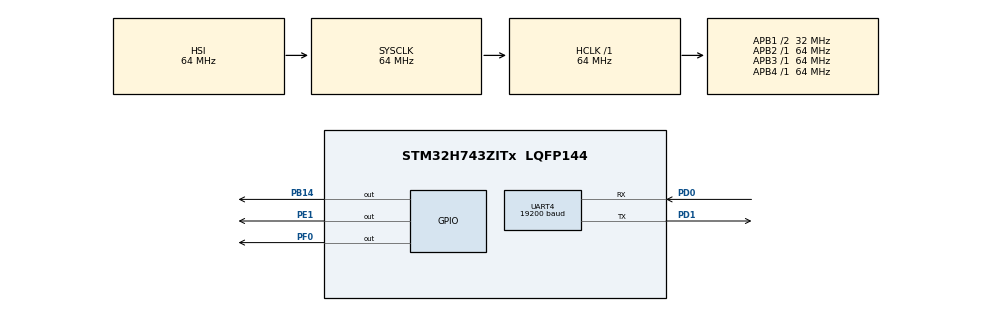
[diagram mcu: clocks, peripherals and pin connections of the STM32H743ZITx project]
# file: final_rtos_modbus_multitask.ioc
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CORTEX_M7.default_mode_Activation=1
FREERTOS.Tasks01=mainTask,40,128,StartmainTask,Default,NULL,Dynamic,NULL,NULL;SendTask,24,128,StartSendTask,Default,NULL,Dynamic,NULL,NULL;ReceiveTask,32,128,StartReceiveTask,Default,NULL,Dynamic,NULL,NULL
Mcu.Family=STM32H7
Mcu.Name=STM32H743ZITx
Mcu.Package=LQFP144
NVIC.PriorityGroup=NVIC_PRIORITYGROUP_4
NVIC.TIM1_UP_IRQn=true\:15\:0\:false\:false\:true\:false\:false\:true\:true
NVIC.TimeBase=TIM1_UP_IRQn
NVIC.TimeBaseIP=TIM1
NVIC.UART4_IRQn=true\:5\:0\:false\:false\:true\:true\:true\:true\:true
PB14.Signal=GPIO_Output
PD0.Mode=Asynchronous
PD0.Signal=UART4_RX
PD1.Mode=Asynchronous
PD1.Signal=UART4_TX
PE1.Signal=GPIO_Output
PF0.Signal=GPIO_Output
ProjectManager.HeapSize=0x200
ProjectManager.StackSize=0x400
ProjectManager.TargetToolchain=STM32CubeIDE
RCC.ADCFreq_Value=129000000
RCC.APB1Freq_Value=32000000
RCC.APB2Freq_Value=64000000
RCC.APB3Freq_Value=64000000
RCC.APB4Freq_Value=64000000
RCC.CortexFreq_Value=64000000
RCC.D2PPRE1=RCC_APB1_DIV2
RCC.HCLKFreq_Value=64000000
RCC.SYSCLKFreq_VALUE=64000000
RCC.USBFreq_Value=129000000
UART4.BaudRate=19200
VP_FREERTOS_VS_CMSIS_V2.Mode=CMSIS_V2
VP_MEMORYMAP_VS_MEMORYMAP.Mode=CurAppReg
VP_SYS_VS_tim1.Mode=TIM1
board=custom

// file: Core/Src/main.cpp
/* USER CODE BEGIN Header */
/**
  ******************************************************************************
  * @file           : main.c
  * @brief          : Main program body
  ******************************************************************************
  * @attention
  *
  * Copyright (c) 2024 STMicroelectronics.
  * All rights reserved.
  *
  * This software is licensed under terms that can be found in the LICENSE file
  * in the root directory of this software component.
  * If no LICENSE file comes with this software, it is provided AS-IS.
  *
  ******************************************************************************
  */
/* USER CODE END Header */
#include <stdio.h>
//#include <queue>
#include "main.h"
#include "cmsis_os2.h"
#include "modbus_crc.h"

uint8_t RxData[64];
uint8_t TxData[64];

uint8_t RxData_on_array[64];
uint8_t RxData_off_array[64];
uint8_t RxData_on_array_AT[64];
uint8_t RxData_off_array_AT[64];

//uint8_t function_code;

uint8_t new_data = 0;
int bytes;

osMessageQueueId_t user_MsgQueue;
osStatus_t status1;

osMessageQueueId_t rxtx_MsgQueue;
osStatus_t status2;

osMessageQueueId_t taskComm_MsgQueue;
osStatus_t status3;

uint8_t AT_active[32];
uint8_t ATMode = 0;
uint8_t BTconnectMode;
//uint8_t function_code;
UART_HandleTypeDef huart4;

/* Definitions for mainTask */
osThreadId_t mainTaskHandle;
const osThreadAttr_t mainTask_attributes = {
  .name = "mainTask",
  .stack_size = 128 * 4,
  .priority = (osPriority_t) osPriorityHigh,
};
/* Definitions for SendTask */
osThreadId_t SendTaskHandle;
const osThreadAttr_t SendTask_attributes = {
  .name = "SendTask",
  .stack_size = 128 * 4,
  .priority = (osPriority_t) osPriorityNormal,
};
/* Definitions for ReceiveTask */
osThreadId_t ReceiveTaskHandle;
const osThreadAttr_t ReceiveTask_attributes = {
  .name = "ReceiveTask",
  .stack_size = 128 * 4,
  .priority = (osPriority_t) osPriorityAboveNormal,
};
/* USER CODE BEGIN PV */
void HAL_UARTEx_RxEventCallback(UART_HandleTypeDef *huart, uint16_t Size)
{
	//clearArray(RxData, 32);
	new_data = 1;
	status1 = osMessageQueuePut(user_MsgQueue, &new_data,0,0);
	//kolejka danych
		HAL_UARTEx_ReceiveToIdle_IT(&huart4, RxData, 64);

}
/* USER CODE END PV */

void SystemClock_Config(void);
static void MPU_Config(void);
static void MX_GPIO_Init(void);
static void MX_UART4_Init(void);
void StartmainTask(void *argument);
void StartSendTask(void *argument);
void StartReceiveTask(void *argument);

int main(void)
{

  /* MPU Configuration--------------------------------------------------------*/
  MPU_Config();

  /* MCU Configuration--------------------------------------------------------*/

  /* Reset of all peripherals, Initializes the Flash interface and the Systick. */
  HAL_Init();

  /* Configure the system clock */
  SystemClock_Config();

  /* Initialize all configured peripherals */
  MX_GPIO_Init();
  MX_UART4_Init();
  /* USER CODE BEGIN 2 */
  modbus_on_compare_array();
  modbus_off_compare_array();
  modbus_on_compare_array_AT();
  modbus_off_compare_array_AT();

  //ATMode_on();
  //ATMode_on();
  user_MsgQueue = osMessageQueueNew(2,sizeof(uint8_t),NULL);
  rxtx_MsgQueue = osMessageQueueNew(2,sizeof(uint8_t),NULL);
  taskComm_MsgQueue = osMessageQueueNew(2,sizeof(uint8_t),NULL);
  //user_MsgQueue = osMessageQueueNew(2, 16,NULL);
  //rxtx_MsgQueue = osMessageQueueNew(2, 16,NULL);

  //HAL_UARTEx_ReceiveToIdle_IT(&huart4, RxData, 32);
  HAL_UARTEx_ReceiveToIdle_IT(&huart4, RxData, 64);
  /* USER CODE END 2 */

  /* Init scheduler */
  osKernelInitialize();

  /* Create the thread(s) */
  /* creation of mainTask */
  mainTaskHandle = osThreadNew(StartmainTask, NULL, &mainTask_attributes);

  /* creation of SendTask */
  SendTaskHandle = osThreadNew(StartSendTask, NULL, &SendTask_attributes);

  /* creation of ReceiveTask */
  ReceiveTaskHandle = osThreadNew(StartReceiveTask, NULL, &ReceiveTask_attributes);

  /* Start scheduler */
  osKernelStart();

  /* We should never get here as control is now taken by the scheduler */

  /* Infinite loop */
  while (1)
  {

  }
}

void SystemClock_Config(void)
{
  RCC_OscInitTypeDef RCC_OscInitStruct = {0};
  RCC_ClkInitTypeDef RCC_ClkInitStruct = {0};

  /** Supply configuration update enable
  */
  HAL_PWREx_ConfigSupply(PWR_LDO_SUPPLY);

  /** Configure the main internal regulator output voltage
  */
  __HAL_PWR_VOLTAGESCALING_CONFIG(PWR_REGULATOR_VOLTAGE_SCALE3);

  while(!__HAL_PWR_GET_FLAG(PWR_FLAG_VOSRDY)) {}

  /** Initializes the RCC Oscillators according to the specified parameters
  * in the RCC_OscInitTypeDef structure.
  */
  RCC_OscInitStruct.OscillatorType = RCC_OSCILLATORTYPE_HSI;
  RCC_OscInitStruct.HSIState = RCC_HSI_DIV1;
  RCC_OscInitStruct.HSICalibrationValue = RCC_HSICALIBRATION_DEFAULT;
  RCC_OscInitStruct.PLL.PLLState = RCC_PLL_NONE;
  if (HAL_RCC_OscConfig(&RCC_OscInitStruct) != HAL_OK)
  {
    Error_Handler();
  }

  /** Initializes the CPU, AHB and APB buses clocks
  */
  RCC_ClkInitStruct.ClockType = RCC_CLOCKTYPE_HCLK|RCC_CLOCKTYPE_SYSCLK
                              |RCC_CLOCKTYPE_PCLK1|RCC_CLOCKTYPE_PCLK2
                              |RCC_CLOCKTYPE_D3PCLK1|RCC_CLOCKTYPE_D1PCLK1;
  RCC_ClkInitStruct.SYSCLKSource = RCC_SYSCLKSOURCE_HSI;
  RCC_ClkInitStruct.SYSCLKDivider = RCC_SYSCLK_DIV1;
  RCC_ClkInitStruct.AHBCLKDivider = RCC_HCLK_DIV1;
  RCC_ClkInitStruct.APB3CLKDivider = RCC_APB3_DIV1;
  RCC_ClkInitStruct.APB1CLKDivider = RCC_APB1_DIV2;
  RCC_ClkInitStruct.APB2CLKDivider = RCC_APB2_DIV1;
  RCC_ClkInitStruct.APB4CLKDivider = RCC_APB4_DIV1;

  if (HAL_RCC_ClockConfig(&RCC_ClkInitStruct, FLASH_LATENCY_1) != HAL_OK)
  {
    Error_Handler();
  }
}

static void MX_UART4_Init(void)
{

  huart4.Instance = UART4;
  huart4.Init.BaudRate = 19200;
  huart4.Init.WordLength = UART_WORDLENGTH_8B;
  huart4.Init.StopBits = UART_STOPBITS_1;
  huart4.Init.Parity = UART_PARITY_NONE;
  huart4.Init.Mode = UART_MODE_TX_RX;
  huart4.Init.HwFlowCtl = UART_HWCONTROL_NONE;
  huart4.Init.OverSampling = UART_OVERSAMPLING_16;
  huart4.Init.OneBitSampling = UART_ONE_BIT_SAMPLE_DISABLE;
  huart4.Init.ClockPrescaler = UART_PRESCALER_DIV1;
  huart4.AdvancedInit.AdvFeatureInit = UART_ADVFEATURE_NO_INIT;
  if (HAL_UART_Init(&huart4) != HAL_OK)
  {
    Error_Handler();
  }
  if (HAL_UARTEx_SetTxFifoThreshold(&huart4, UART_TXFIFO_THRESHOLD_1_8) != HAL_OK)
  {
    Error_Handler();
  }
  if (HAL_UARTEx_SetRxFifoThreshold(&huart4, UART_RXFIFO_THRESHOLD_1_8) != HAL_OK)
  {
    Error_Handler();
  }
  if (HAL_UARTEx_DisableFifoMode(&huart4) != HAL_OK)
  {
    Error_Handler();
  }

}

static void MX_GPIO_Init(void)
{
  GPIO_InitTypeDef GPIO_InitStruct = {0};

  /* GPIO Ports Clock Enable */
  __HAL_RCC_GPIOF_CLK_ENABLE();
  __HAL_RCC_GPIOB_CLK_ENABLE();
  __HAL_RCC_GPIOD_CLK_ENABLE();
  __HAL_RCC_GPIOE_CLK_ENABLE();

  /*Configure GPIO pin Output Level */
  HAL_GPIO_WritePin(GPIOF, GPIO_PIN_0, GPIO_PIN_RESET);

  /*Configure GPIO pin Output Level */
  HAL_GPIO_WritePin(GPIOB, GPIO_PIN_14, GPIO_PIN_RESET);

  /*Configure GPIO pin Output Level */
  HAL_GPIO_WritePin(GPIOE, GPIO_PIN_1, GPIO_PIN_RESET);

  /*Configure GPIO pin : PF0 */
  GPIO_InitStruct.Pin = GPIO_PIN_0;
  GPIO_InitStruct.Mode = GPIO_MODE_OUTPUT_PP;
  GPIO_InitStruct.Pull = GPIO_NOPULL;
  GPIO_InitStruct.Speed = GPIO_SPEED_FREQ_LOW;
  HAL_GPIO_Init(GPIOF, &GPIO_InitStruct);

  /*Configure GPIO pin : PB14 */
  GPIO_InitStruct.Pin = GPIO_PIN_14;
  GPIO_InitStruct.Mode = GPIO_MODE_OUTPUT_PP;
  GPIO_InitStruct.Pull = GPIO_NOPULL;
  GPIO_InitStruct.Speed = GPIO_SPEED_FREQ_LOW;
  HAL_GPIO_Init(GPIOB, &GPIO_InitStruct);

  /*Configure GPIO pin : PE1 */
  GPIO_InitStruct.Pin = GPIO_PIN_1;
  GPIO_InitStruct.Mode = GPIO_MODE_OUTPUT_PP;
  GPIO_InitStruct.Pull = GPIO_NOPULL;
  GPIO_InitStruct.Speed = GPIO_SPEED_FREQ_LOW;
  HAL_GPIO_Init(GPIOE, &GPIO_InitStruct);

}

void StartmainTask(void *argument)
{
  /* USER CODE BEGIN 5 */

	int i = 0;
	uint8_t new_data_rtos;
	BTM222_init_reset();

  /* Infinite loop */
  for(;;)
  {
	  i++;
	  if(compareArrays(RxData, RxData_on_array_AT, 8,7))
	 	  {
		  HAL_GPIO_WritePin(GPIOE, GPIO_PIN_1,GPIO_PIN_SET);
	  }
	  if(compareArrays(RxData, RxData_off_array_AT, 11,10))
	  	 	  {
	  		  HAL_GPIO_WritePin(GPIOE, GPIO_PIN_1,GPIO_PIN_RESET);
	  	  }
	//  if(ATMode == 0){
	//  ATMode_on();
	//  }
	//    if(RxData[2] == 0x4f)
	//	  {
	//    	ATMode = 1;
	//	  }
	 //}

	 // if(ATMode == 1){
		//  ATMode_Pcom();
	  	//  }

	  if(compareArrays(RxData, RxData_on_array, 32, 0))
	  {
		  HAL_GPIO_WritePin(GPIOE, GPIO_PIN_1,GPIO_PIN_SET);
	  	  clearArray(RxData, 32);
	  	 // ATMode = 0;
	  	  //BTconnectMode = 1;
	  }
	  if((BTconnectMode) && (compareArrays(RxData, RxData_off_array, 32, 0)))
	  {
		 // HAL_GPIO_WritePin(GPIOE, GPIO_PIN_1,GPIO_PIN_RESET);
		  clearArray(RxData, 32);
	  	  osDelay(500);
	  	  BTM222_init_reset();
	  	  //ATMode = 1;
	  	  //BTconnectMode = 0;
	  }
	  status1 = osMessageQueueGet(user_MsgQueue, &new_data_rtos,0,osWaitForever);
	  if (status1 == osOK && new_data_rtos == 1)
	  {
		  status3 = osMessageQueuePut(taskComm_MsgQueue, &new_data_rtos,0,1000);
	  }

	 // if(Holding_Registers_Database[50] == 18){
		//  HAL_GPIO_WritePin(GPIOB, GPIO_PIN_14,GPIO_PIN_SET);
	  //}
	  //else
	  //{
		//  HAL_GPIO_WritePin(GPIOB, GPIO_PIN_14,GPIO_PIN_RESET);
	  //}

	  osDelay(10);

  }
  /* USER CODE END 5 */
}

void StartSendTask(void *argument)
{
  /* USER CODE BEGIN StartSendTask */
  /* Infinite loop */
	uint8_t function_code_rtos_send;

  for(;;)
  {

	  status2 = osMessageQueueGet(rxtx_MsgQueue, &function_code_rtos_send,0,1000);
	  if (status2 == osOK)
	  {
	  		  if(function_code_rtos_send == 3)
	  		  {
	  			  sendData(TxData, bytes+2);
	  		  }
	  		  if(function_code_rtos_send == 6)
	  		  {

	  			  sendData(TxData, 8);
	  		  }
	 }

	 osDelay(12);
	  	  }

  }
  /* USER CODE END StartSendTask */

void StartReceiveTask(void *argument)
{
  /* USER CODE BEGIN StartReceiveTask */
  /* Infinite loop */
	uint8_t new_data_rtos_rx;
	uint8_t function_code;

  for(;;)
  {
	  status3 = osMessageQueueGet(taskComm_MsgQueue, &new_data_rtos_rx,0,1000);
	  if (status3 == osOK)
	  {
	  if (RxData[0] == SLAVE_ID)
	  {
	  			switch (RxData[1]){
	  			case 0x03:
	  				readHoldingRegs();
	  				function_code = 3;
	  				status2 = osMessageQueuePut(rxtx_MsgQueue, &function_code,0,1000);
	  				break;
	  			case 0x06:
	  				writeSingleReg();
	  				function_code = 6;
	  				status2 = osMessageQueuePut(rxtx_MsgQueue, &function_code,0,1000);
	  				break;
	  			default:
	  				break;
	  			}

	  }
	  }

	  osDelay(14);

  /* USER CODE END StartReceiveTask */
}
}
 /* MPU Configuration */

void MPU_Config(void)
{
  MPU_Region_InitTypeDef MPU_InitStruct = {0};

  /* Disables the MPU */
  HAL_MPU_Disable();

  /** Initializes and configures the Region and the memory to be protected
  */
  MPU_InitStruct.Enable = MPU_REGION_ENABLE;
  MPU_InitStruct.Number = MPU_REGION_NUMBER0;
  MPU_InitStruct.BaseAddress = 0x0;
  MPU_InitStruct.Size = MPU_REGION_SIZE_4GB;
  MPU_InitStruct.SubRegionDisable = 0x87;
  MPU_InitStruct.TypeExtField = MPU_TEX_LEVEL0;
  MPU_InitStruct.AccessPermission = MPU_REGION_NO_ACCESS;
  MPU_InitStruct.DisableExec = MPU_INSTRUCTION_ACCESS_DISABLE;
  MPU_InitStruct.IsShareable = MPU_ACCESS_SHAREABLE;
  MPU_InitStruct.IsCacheable = MPU_ACCESS_NOT_CACHEABLE;
  MPU_InitStruct.IsBufferable = MPU_ACCESS_NOT_BUFFERABLE;

  HAL_MPU_ConfigRegion(&MPU_InitStruct);
  /* Enables the MPU */
  HAL_MPU_Enable(MPU_PRIVILEGED_DEFAULT);

}

void HAL_TIM_PeriodElapsedCallback(TIM_HandleTypeDef *htim)
{
  if (htim->Instance == TIM1) {
    HAL_IncTick();
  }
}

void Error_Handler(void)
{
  __disable_irq();
  while (1)
  {
  }
}
